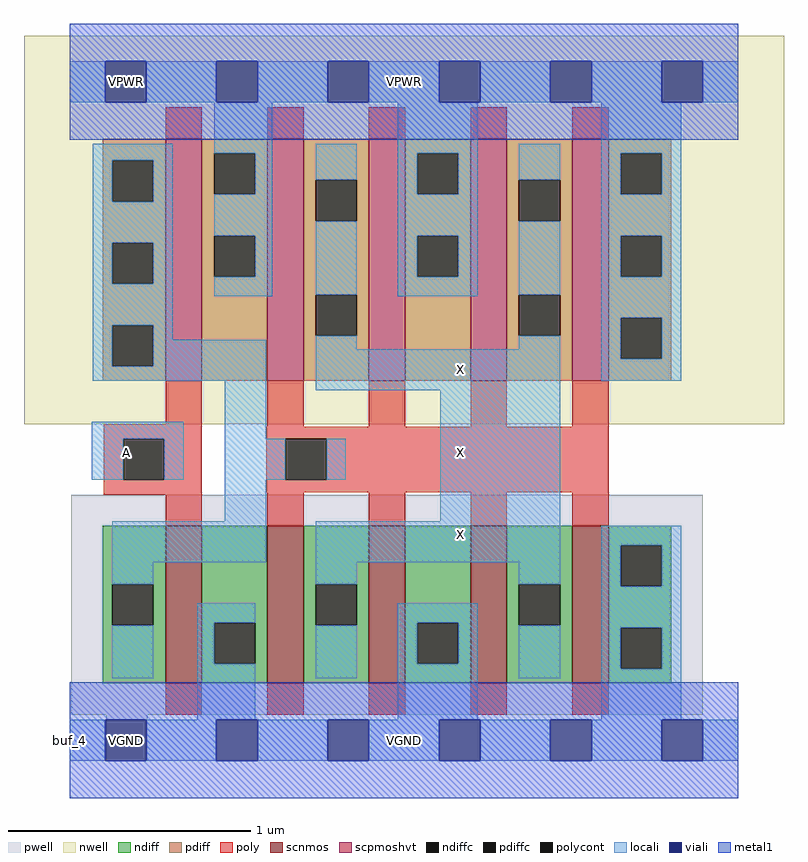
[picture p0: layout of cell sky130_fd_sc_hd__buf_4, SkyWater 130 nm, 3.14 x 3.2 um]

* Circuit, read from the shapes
.subckt sky130_fd_sc_hd__buf_4 A VGND VNB VPB VPWR X
XM1 VGND A n1 VNB sky130_fd_pr__nfet_01v8 w=0.65 l=0.15
XM2 X n1 VGND VNB sky130_fd_pr__nfet_01v8 w=0.65 l=0.15 m=4
XM3 VPWR A n1 VPB sky130_fd_pr__pfet_01v8_hvt w=1 l=0.15
XM4 X n1 VPWR VPB sky130_fd_pr__pfet_01v8_hvt w=1 l=0.15 m=4
.ends

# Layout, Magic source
magic
tech sky130A
magscale 1 2
<< nwell >>
rect -38 261 590 582
<< pwell >>
rect 1 21 523 203
rect 30 -17 64 21
<< scnmos >>
rect 79 47 109 177
rect 163 47 193 177
rect 247 47 277 177
rect 331 47 361 177
rect 415 47 445 177
<< scpmoshvt >>
rect 79 297 109 497
rect 163 297 193 497
rect 247 297 277 497
rect 331 297 361 497
rect 415 297 445 497
<< ndiff >>
rect 27 129 79 177
rect 27 95 35 129
rect 69 95 79 129
rect 27 47 79 95
rect 109 97 163 177
rect 109 63 119 97
rect 153 63 163 97
rect 109 47 163 63
rect 193 129 247 177
rect 193 95 203 129
rect 237 95 247 129
rect 193 47 247 95
rect 277 97 331 177
rect 277 63 287 97
rect 321 63 331 97
rect 277 47 331 63
rect 361 129 415 177
rect 361 95 371 129
rect 405 95 415 129
rect 361 47 415 95
rect 445 161 497 177
rect 445 127 455 161
rect 489 127 497 161
rect 445 93 497 127
rect 445 59 455 93
rect 489 59 497 93
rect 445 47 497 59
<< pdiff >>
rect 27 479 79 497
rect 27 445 35 479
rect 69 445 79 479
rect 27 411 79 445
rect 27 377 35 411
rect 69 377 79 411
rect 27 343 79 377
rect 27 309 35 343
rect 69 309 79 343
rect 27 297 79 309
rect 109 485 163 497
rect 109 451 119 485
rect 153 451 163 485
rect 109 417 163 451
rect 109 383 119 417
rect 153 383 163 417
rect 109 297 163 383
rect 193 463 247 497
rect 193 429 203 463
rect 237 429 247 463
rect 193 368 247 429
rect 193 334 203 368
rect 237 334 247 368
rect 193 297 247 334
rect 277 485 331 497
rect 277 451 287 485
rect 321 451 331 485
rect 277 417 331 451
rect 277 383 287 417
rect 321 383 331 417
rect 277 297 331 383
rect 361 463 415 497
rect 361 429 371 463
rect 405 429 415 463
rect 361 368 415 429
rect 361 334 371 368
rect 405 334 415 368
rect 361 297 415 334
rect 445 485 497 497
rect 445 451 455 485
rect 489 451 497 485
rect 445 417 497 451
rect 445 383 455 417
rect 489 383 497 417
rect 445 349 497 383
rect 445 315 455 349
rect 489 315 497 349
rect 445 297 497 315
<< ndiffc >>
rect 35 95 69 129
rect 119 63 153 97
rect 203 95 237 129
rect 287 63 321 97
rect 371 95 405 129
rect 455 127 489 161
rect 455 59 489 93
<< pdiffc >>
rect 35 445 69 479
rect 35 377 69 411
rect 35 309 69 343
rect 119 451 153 485
rect 119 383 153 417
rect 203 429 237 463
rect 203 334 237 368
rect 287 451 321 485
rect 287 383 321 417
rect 371 429 405 463
rect 371 334 405 368
rect 455 451 489 485
rect 455 383 489 417
rect 455 315 489 349
<< poly >>
rect 79 497 109 523
rect 163 497 193 523
rect 247 497 277 523
rect 331 497 361 523
rect 415 497 445 523
rect 79 261 109 297
rect 28 249 109 261
rect 163 259 193 297
rect 247 259 277 297
rect 331 259 361 297
rect 415 259 445 297
rect 28 215 44 249
rect 78 215 109 249
rect 28 203 109 215
rect 162 249 445 259
rect 162 215 178 249
rect 212 215 445 249
rect 162 205 445 215
rect 79 177 109 203
rect 163 177 193 205
rect 247 177 277 205
rect 331 177 361 205
rect 415 177 445 205
rect 79 21 109 47
rect 163 21 193 47
rect 247 21 277 47
rect 331 21 361 47
rect 415 21 445 47
<< polycont >>
rect 44 215 78 249
rect 178 215 212 249
<< locali >>
rect 0 527 29 561
rect 63 527 121 561
rect 155 527 213 561
rect 247 527 305 561
rect 339 527 397 561
rect 431 527 489 561
rect 523 527 552 561
rect 19 479 85 493
rect 19 445 35 479
rect 69 445 85 479
rect 19 411 85 445
rect 19 377 35 411
rect 69 377 85 411
rect 19 343 85 377
rect 119 485 167 527
rect 153 451 167 485
rect 119 417 167 451
rect 153 383 167 417
rect 119 367 167 383
rect 203 463 237 493
rect 203 368 237 429
rect 19 309 35 343
rect 69 331 85 343
rect 271 485 337 527
rect 271 451 287 485
rect 321 451 337 485
rect 271 417 337 451
rect 271 383 287 417
rect 321 383 337 417
rect 271 367 337 383
rect 371 463 405 493
rect 371 368 405 429
rect 69 309 162 331
rect 19 297 162 309
rect 18 249 94 263
rect 18 215 44 249
rect 78 215 94 249
rect 128 249 162 297
rect 203 323 237 334
rect 371 323 405 334
rect 203 289 405 323
rect 439 485 505 527
rect 439 451 455 485
rect 489 451 505 485
rect 439 417 505 451
rect 439 383 455 417
rect 489 383 505 417
rect 439 349 505 383
rect 439 315 455 349
rect 489 315 505 349
rect 439 297 505 315
rect 128 215 178 249
rect 212 215 228 249
rect 128 181 162 215
rect 306 181 405 289
rect 35 147 162 181
rect 203 147 405 181
rect 35 129 69 147
rect 203 129 237 147
rect 35 51 69 95
rect 105 97 153 113
rect 105 63 119 97
rect 105 17 153 63
rect 371 129 405 147
rect 203 51 237 95
rect 271 97 337 113
rect 271 63 287 97
rect 321 63 337 97
rect 271 17 337 63
rect 371 51 405 95
rect 439 161 505 177
rect 439 127 455 161
rect 489 127 505 161
rect 439 93 505 127
rect 439 59 455 93
rect 489 59 505 93
rect 439 17 505 59
rect 0 -17 29 17
rect 63 -17 121 17
rect 155 -17 213 17
rect 247 -17 305 17
rect 339 -17 397 17
rect 431 -17 489 17
rect 523 -17 552 17
<< viali >>
rect 29 527 63 561
rect 121 527 155 561
rect 213 527 247 561
rect 305 527 339 561
rect 397 527 431 561
rect 489 527 523 561
rect 29 -17 63 17
rect 121 -17 155 17
rect 213 -17 247 17
rect 305 -17 339 17
rect 397 -17 431 17
rect 489 -17 523 17
<< metal1 >>
rect 0 561 552 592
rect 0 527 29 561
rect 63 527 121 561
rect 155 527 213 561
rect 247 527 305 561
rect 339 527 397 561
rect 431 527 489 561
rect 523 527 552 561
rect 0 496 552 527
rect 0 17 552 48
rect 0 -17 29 17
rect 63 -17 121 17
rect 155 -17 213 17
rect 247 -17 305 17
rect 339 -17 397 17
rect 431 -17 489 17
rect 523 -17 552 17
rect 0 -48 552 -17
<< labels >>
flabel metal1 s 30 527 64 561 0 FreeSans 200 0 0 0 VPWR
port 5 nsew power bidirectional abutment
flabel metal1 s 30 -17 64 17 0 FreeSans 200 0 0 0 VGND
port 2 nsew ground bidirectional abutment
flabel locali s 306 221 340 255 0 FreeSans 200 0 0 0 X
port 6 nsew signal output
flabel locali s 306 289 340 323 0 FreeSans 200 0 0 0 X
port 6 nsew signal output
flabel locali s 306 153 340 187 0 FreeSans 200 0 0 0 X
port 6 nsew signal output
flabel locali s 30 527 64 561 0 FreeSans 200 0 0 0 VPWR
port 5 nsew power bidirectional abutment
flabel locali s 30 -17 64 17 0 FreeSans 200 0 0 0 VGND
port 2 nsew ground bidirectional abutment
flabel locali s 30 221 64 255 0 FreeSans 200 0 0 0 A
port 1 nsew signal input
flabel nwell s 30 527 64 561 0 FreeSans 200 0 0 0 VPB
port 4 nsew power bidirectional
flabel pwell s 30 -17 64 17 0 FreeSans 200 0 0 0 VNB
port 3 nsew ground bidirectional
rlabel comment s 0 0 0 0 4 buf_4
rlabel metal1 s 0 -48 552 48 1 VGND
port 2 nsew ground bidirectional abutment
rlabel metal1 s 0 496 552 592 1 VPWR
port 5 nsew power bidirectional abutment
<< properties >>
string FIXED_BBOX 0 0 552 544
string GDS_END 3097464
string GDS_FILE $PDKPATH/libs.ref/sky130_fd_sc_hd/gds/sky130_fd_sc_hd.gds
string GDS_START 3092116
string LEFclass CORE
string LEFsite unithd
string LEFsymmetry X Y R90
string path 0.000 13.600 13.800 13.600 
<< end >>
